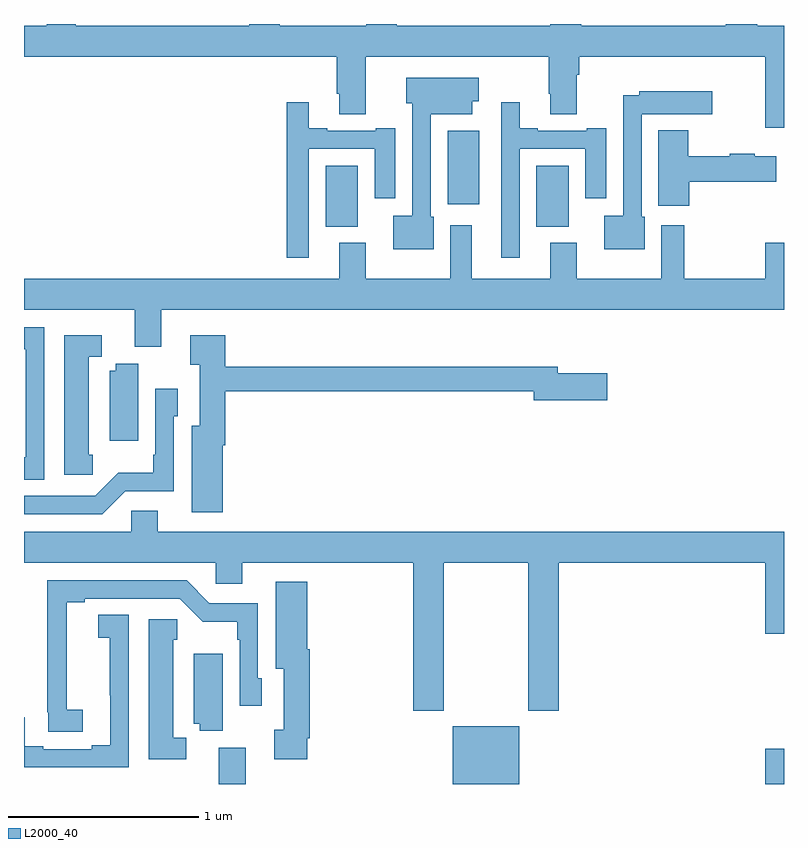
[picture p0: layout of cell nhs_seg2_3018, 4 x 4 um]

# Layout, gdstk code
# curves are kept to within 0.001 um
import gdstk
lib = gdstk.Library(unit=1e-6, precision=1e-09)
def R(c, l, rs):  # rectangles x0, y0, x1, y1
    for r in rs: c.add(gdstk.rectangle(r[:2], r[2:], *l))
def P(c, l, *ps):  # polygons
    for p in ps: c.add(gdstk.Polygon(p, *l))
L2000_40 = (2000, 40)

nhs_seg2_3018 = lib.new_cell('nhs_seg2_3018')
R(nhs_seg2_3018, L2000_40, [(270.026,651.8,270.166,651.991), (271.256,651.8,271.606,652.105), (272.9,651.8,273,651.985), (270.587,654.734,270.757,655.054), (271.697,654.734,271.867,655.054), (271.229,654.851,271.396,655.237)])
P(nhs_seg2_3018, L2000_40, [(270.345,655.8),(270.185,655.8),(270.185,655.792),(269.273,655.792),(269.273,655.8),(269.12,655.8),(269.12,655.792),(269,655.792),(269,655.628),(270.647,655.628),(270.647,655.432),(270.659,655.432),(270.659,655.324),(270.799,655.324),(270.799,655.628),(271.762,655.628),(271.762,655.432),(271.769,655.432),(271.769,655.324),(271.909,655.324),(271.909,655.532),(271.922,655.532),(271.922,655.628),(272.9,655.628),(272.9,655.254),(273,655.254),(273,655.792),(272.858,655.792),(272.858,655.8),(272.693,655.8),(272.693,655.792),(271.934,655.792),(271.934,655.8),(271.769,655.8),(271.769,655.792),(270.962,655.792),(270.962,655.8),(270.802,655.8),(270.802,655.792),(270.345,655.792)],
  [(271.156,654.786),(271.14,654.786),(271.14,655.325),(271.36,655.325),(271.36,655.394),(271.393,655.394),(271.393,655.516),(271.013,655.516),(271.013,655.382),(271.044,655.382),(271.044,654.79),(270.944,654.79),(270.944,654.614),(271.156,654.614)],
  [(272.266,654.786),(272.25,654.786),(272.25,655.326),(272.347,655.326),(272.347,655.325),(272.623,655.325),(272.623,655.447),(272.238,655.447),(272.238,655.424),(272.154,655.424),(272.154,654.79),(272.054,654.79),(272.054,654.614),(272.266,654.614)],
  [(271.608,655.143),(271.955,655.143),(271.955,654.882),(272.065,654.882),(272.065,655.252),(271.961,655.252),(271.961,655.239),(271.705,655.239),(271.705,655.252),(271.609,655.252),(271.609,655.387),(271.512,655.387),(271.512,654.57),(271.608,654.57)],
  [(270.498,655.143),(270.845,655.143),(270.845,654.882),(270.955,654.882),(270.955,655.252),(270.851,655.252),(270.851,655.239),(270.595,655.239),(270.595,655.252),(270.499,655.252),(270.499,655.387),(270.382,655.387),(270.382,654.57),(270.498,654.57)],
  [(272.501,654.971),(272.959,654.971),(272.959,655.105),(272.846,655.105),(272.846,655.118),(272.715,655.118),(272.715,655.105),(272.496,655.105),(272.496,655.24),(272.339,655.24),(272.339,654.843),(272.501,654.843)],
  [(269.722,654.296),(273,654.296),(273,654.649),(272.9,654.649),(272.9,654.46),(272.475,654.46),(272.475,654.742),(272.354,654.742),(272.354,654.46),(271.909,654.46),(271.909,654.649),(271.769,654.649),(271.769,654.46),(271.357,654.46),(271.357,654.742),(271.244,654.742),(271.244,654.46),(270.799,654.46),(270.799,654.649),(270.659,654.649),(270.659,654.46),(269,654.46),(269,654.296),(269.582,654.296),(269.582,654.102),(269.722,654.102)],
  [(269.106,654.204),(269,654.204),(269,654.088),(269.009,654.088),(269.009,653.825),(269.008,653.825),(269.008,653.521),(269,653.521),(269,653.401),(269.106,653.401)],
  [(269.363,653.532),(269.341,653.532),(269.341,654.048),(269.41,654.048),(269.41,654.163),(269.213,654.163),(269.213,653.427),(269.363,653.427)],
  [(270.046,653.582),(270.059,653.582),(270.059,653.866),(271.682,653.866),(271.682,653.819),(272.071,653.819),(272.071,653.961),(271.81,653.961),(271.81,653.995),(270.059,653.995),(270.059,654.163),(269.874,654.163),(269.874,654.007),(269.924,654.007),(269.924,653.686),(269.882,653.686),(269.882,653.229),(270.046,653.229)],
  [(269.602,654.011),(269.482,654.011),(269.482,653.974),(269.45,653.974),(269.45,653.607),(269.602,653.607)],
  [(269.532,653.34),(269.787,653.34),(269.787,653.736),(269.808,653.736),(269.808,653.881),(269.691,653.881),(269.691,653.533),(269.679,653.533),(269.679,653.437),(269.497,653.437),(269.376,653.316),(269,653.316),(269,653.22),(269.412,653.22)],
  [(271.209,652.964),(271.654,652.964),(271.654,652.185),(271.814,652.185),(271.814,652.964),(272.9,652.964),(272.9,652.59),(273,652.59),(273,653.128),(269.704,653.128),(269.704,653.238),(269.565,653.238),(269.565,653.128),(269,653.128),(269,652.964),(270.009,652.964),(270.009,652.854),(270.148,652.854),(270.148,652.964),(271.049,652.964),(271.049,652.185),(271.209,652.185)],
  [(269.308,652.19),(269.226,652.19),(269.224,652.756),(269.32,652.756),(269.32,652.776),(269.82,652.776),(269.941,652.655),(270.123,652.655),(270.123,652.559),(270.135,652.559),(270.135,652.212),(270.252,652.212),(270.252,652.356),(270.231,652.356),(270.231,652.752),(269.976,652.752),(269.856,652.872),(269.122,652.872),(269.122,652.177),(269.128,652.177),(269.128,652.075),(269.308,652.075)],
  [(270.49,652.042),(270.503,652.042),(270.503,652.51),(270.49,652.51),(270.49,652.864),(270.326,652.864),(270.326,652.406),(270.368,652.406),(270.368,652.086),(270.318,652.086),(270.318,651.93),(270.49,651.93)],
  [(269.55,652.691),(269.391,652.691),(269.391,652.571),(269.452,652.571),(269.452,652.267),(269.453,652.267),(269.453,652.004),(269.357,652.004),(269.357,651.984),(269.101,651.984),(269.101,651.998),(269.004,651.998),(269.004,652.151),(269,652.151),(269,651.888),(269.55,651.888)],
  [(269.854,652.044),(269.785,652.044),(269.785,652.56),(269.807,652.56),(269.807,652.666),(269.657,652.666),(269.657,651.929),(269.854,651.929)],
  [(270.046,652.486),(269.894,652.486),(269.894,652.118),(269.926,652.118),(269.926,652.081),(270.046,652.081)])

lib.write_gds('nhs_seg2_3018.gds')
